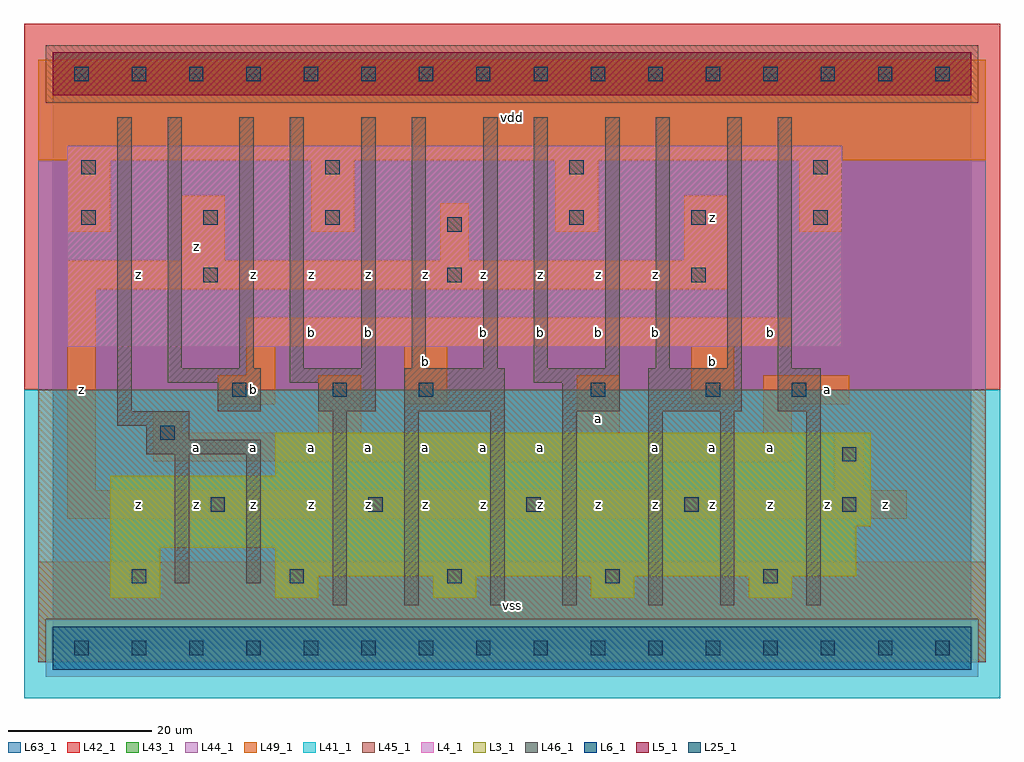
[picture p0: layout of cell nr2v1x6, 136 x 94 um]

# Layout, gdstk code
import gdstk
lib = gdstk.Library(unit=1e-6, precision=1e-09)
def R(c, l, rs):  # rectangles x0, y0, x1, y1
    for r in rs: c.add(gdstk.rectangle(r[:2], r[2:], *l))
def A(c, l, x, y, w, h, nx, ny, dx, dy):  # array of equal rectangles
    R(c, l, [(x+i*dx, y+j*dy, x+i*dx+w, y+j*dy+h) for i in range(nx) for j in range(ny)])
L3_1 = (3, 1)
L4_1 = (4, 1)
L5_1 = (5, 1)
L6_1 = (6, 1)
L25_1 = (25, 1)
L41_1 = (41, 1)
L42_1 = (42, 1)
L43_1 = (43, 1)
L44_1 = (44, 1)
L45_1 = (45, 1)
L46_1 = (46, 1)
L49_1 = (49, 1)
L63_1 = (63, 1)

nr2v1x6 = lib.new_cell('nr2v1x6')
A(nr2v1x6, L3_1, 31, 7, 6, 3, 4, 1, 22, 0)
R(nr2v1x6, L3_1, [(8,7,15,14), (31,10,112,14), (8,14,112,17), (8,17,114,24), (31,24,114,30)])
R(nr2v1x6, L4_1, [(2,42,110,70)])
R(nr2v1x6, L5_1, [(0,77,128,83)])
R(nr2v1x6, L6_1, [(0,-3,128,3), (0,-3,128,3)])
A(nr2v1x6, L25_1, 3, -1, 2, 2, 16, 2, 8, 80)
A(nr2v1x6, L25_1, 11, 9, 2, 2, 5, 1, 22, 0)
A(nr2v1x6, L25_1, 22, 19, 2, 2, 5, 1, 22, 0)
A(nr2v1x6, L25_1, 21, 51, 2, 2, 3, 1, 34, 0)
A(nr2v1x6, L25_1, 4, 59, 2, 2, 3, 1, 17, 0)
A(nr2v1x6, L25_1, 72, 59, 2, 2, 3, 1, 17, 0)
A(nr2v1x6, L25_1, 4, 66, 2, 2, 4, 1, 34, 0)
R(nr2v1x6, L25_1, [(110,26,112,28), (15,29,17,31), (25,35,27,37), (39,35,41,37), (51,35,53,37), (75,35,77,37), (91,35,93,37), (103,35,105,37), (55,58,57,60)])
R(nr2v1x6, L41_1, [(-4,-7,132,36)])
R(nr2v1x6, L42_1, [(-4,36,132,87)])
A(nr2v1x6, L43_1, 31, 7, 6, 3, 4, 1, 22, 0)
R(nr2v1x6, L43_1, [(0,-3,128,3), (8,7,15,14), (31,10,112,14), (8,14,112,17), (8,17,114,24), (31,24,114,30), (2,42,110,70), (0,77,128,83)])
R(nr2v1x6, L44_1, [(-1,-4,129,4), (-2,36,130,76), (-2,76,-1,82), (129,76,130,82)])
R(nr2v1x6, L45_1, [(-2,-2,-1,4), (129,-2,130,4), (-2,4,130,36), (-1,76,129,84)])
R(nr2v1x6, L46_1, [(39,6,41,33), (49,6,51,33), (61,6,63,33), (71,6,73,33), (83,6,85,33), (93,6,95,33), (105,6,107,33), (17,9,19,27), (27,9,29,27), (13,27,29,29), (13,29,19,31), (9,31,19,33), (9,33,11,74), (23,33,29,37), (37,33,45,37), (49,33,63,39), (71,33,79,37), (83,33,96,39), (101,33,107,39), (16,37,29,39), (33,37,45,39), (67,37,79,39), (16,39,18,74), (26,39,28,74), (33,39,35,74), (43,39,45,74), (50,39,52,74), (60,39,62,74), (67,39,69,74), (77,39,79,74), (84,39,86,74), (94,39,96,74), (101,39,103,74)])
A(nr2v1x6, L49_1, 2, 58, 6, 10, 4, 1, 34, 0)
R(nr2v1x6, L49_1, [(-2,-2,130,12), (2,18,119,22), (2,22,6,50), (109,22,113,30), (14,26,103,30), (14,30,18,33), (37,30,43,38), (73,30,79,38), (99,30,103,34), (23,34,31,38), (49,34,55,42), (89,34,95,42), (99,34,111,38), (27,38,31,42), (27,42,103,46), (2,50,94,54), (18,54,24,63), (54,54,58,62), (88,54,94,63), (-2,68,130,82)])
R(nr2v1x6, L63_1, [(0,0,128,80)])
nr2v1x6.add(gdstk.Label('z', (12,20), layer=49, texttype=1))
nr2v1x6.add(gdstk.Label('z', (4,36), layer=49, texttype=1))
nr2v1x6.add(gdstk.Label('z', (12,52), layer=49, texttype=1))
nr2v1x6.add(gdstk.Label('z', (20,20), layer=49, texttype=1))
nr2v1x6.add(gdstk.Label('z', (36,20), layer=49, texttype=1))
nr2v1x6.add(gdstk.Label('z', (28,20), layer=49, texttype=1))
nr2v1x6.add(gdstk.Label('a', (28,28), layer=49, texttype=1))
nr2v1x6.add(gdstk.Label('a', (36,28), layer=49, texttype=1))
nr2v1x6.add(gdstk.Label('a', (20,28), layer=49, texttype=1))
nr2v1x6.add(gdstk.Label('b', (28,36), layer=49, texttype=1))
nr2v1x6.add(gdstk.Label('b', (36,44), layer=49, texttype=1))
nr2v1x6.add(gdstk.Label('z', (28,52), layer=49, texttype=1))
nr2v1x6.add(gdstk.Label('z', (36,52), layer=49, texttype=1))
nr2v1x6.add(gdstk.Label('z', (20,56), layer=49, texttype=1))
nr2v1x6.add(gdstk.Label('z', (44,20), layer=49, texttype=1))
nr2v1x6.add(gdstk.Label('z', (60,20), layer=49, texttype=1))
nr2v1x6.add(gdstk.Label('z', (52,20), layer=49, texttype=1))
nr2v1x6.add(gdstk.Label('a', (52,28), layer=49, texttype=1))
nr2v1x6.add(gdstk.Label('a', (60,28), layer=49, texttype=1))
nr2v1x6.add(gdstk.Label('a', (44,28), layer=49, texttype=1))
nr2v1x6.add(gdstk.Label('b', (52,40), layer=49, texttype=1))
nr2v1x6.add(gdstk.Label('b', (60,44), layer=49, texttype=1))
nr2v1x6.add(gdstk.Label('b', (44,44), layer=49, texttype=1))
nr2v1x6.add(gdstk.Label('z', (44,52), layer=49, texttype=1))
nr2v1x6.add(gdstk.Label('z', (52,52), layer=49, texttype=1))
nr2v1x6.add(gdstk.Label('z', (60,52), layer=49, texttype=1))
nr2v1x6.add(gdstk.Label('vss', (64,6), layer=49, texttype=1))
nr2v1x6.add(gdstk.Label('z', (68,20), layer=49, texttype=1))
nr2v1x6.add(gdstk.Label('z', (84,20), layer=49, texttype=1))
nr2v1x6.add(gdstk.Label('z', (76,20), layer=49, texttype=1))
nr2v1x6.add(gdstk.Label('a', (84,28), layer=49, texttype=1))
nr2v1x6.add(gdstk.Label('a', (68,28), layer=49, texttype=1))
nr2v1x6.add(gdstk.Label('a', (76,32), layer=49, texttype=1))
nr2v1x6.add(gdstk.Label('b', (76,44), layer=49, texttype=1))
nr2v1x6.add(gdstk.Label('b', (84,44), layer=49, texttype=1))
nr2v1x6.add(gdstk.Label('b', (68,44), layer=49, texttype=1))
nr2v1x6.add(gdstk.Label('z', (68,52), layer=49, texttype=1))
nr2v1x6.add(gdstk.Label('z', (76,52), layer=49, texttype=1))
nr2v1x6.add(gdstk.Label('z', (84,52), layer=49, texttype=1))
nr2v1x6.add(gdstk.Label('vdd', (64,74), layer=49, texttype=1))
nr2v1x6.add(gdstk.Label('z', (92,20), layer=49, texttype=1))
nr2v1x6.add(gdstk.Label('z', (100,20), layer=49, texttype=1))
nr2v1x6.add(gdstk.Label('a', (100,28), layer=49, texttype=1))
nr2v1x6.add(gdstk.Label('a', (92,28), layer=49, texttype=1))
nr2v1x6.add(gdstk.Label('b', (100,44), layer=49, texttype=1))
nr2v1x6.add(gdstk.Label('b', (92,40), layer=49, texttype=1))
nr2v1x6.add(gdstk.Label('z', (92,60), layer=49, texttype=1))
nr2v1x6.add(gdstk.Label('z', (108,20), layer=49, texttype=1))
nr2v1x6.add(gdstk.Label('z', (116,20), layer=49, texttype=1))
nr2v1x6.add(gdstk.Label('a', (108,36), layer=49, texttype=1))

lib.write_gds('nr2v1x6.gds')
